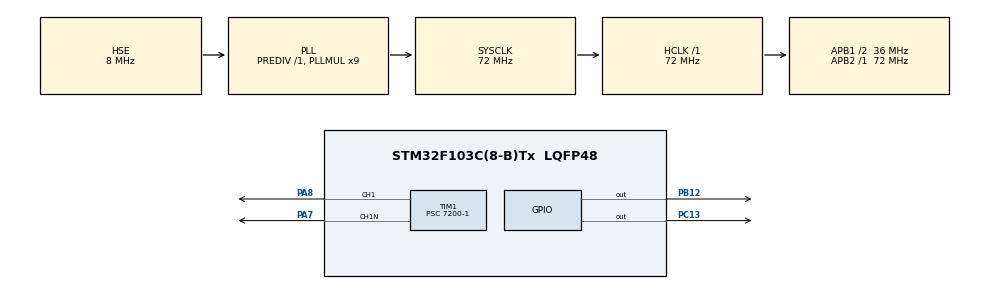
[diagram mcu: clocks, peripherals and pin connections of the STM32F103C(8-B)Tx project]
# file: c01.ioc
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Mcu.Family=STM32F1
Mcu.Name=STM32F103C(8-B)Tx
Mcu.Package=LQFP48
NVIC.PriorityGroup=NVIC_PRIORITYGROUP_4
NVIC.TIM1_BRK_IRQn=true\:0\:0\:false\:false\:true\:true\:true\:true
NVIC.TIM1_TRG_COM_IRQn=true\:0\:0\:false\:false\:true\:true\:true\:true
NVIC.TIM1_UP_IRQn=true\:0\:0\:false\:false\:true\:true\:true\:true
PA13.Mode=Serial_Wire
PA13.Signal=SYS_JTMS-SWDIO
PA14.Mode=Serial_Wire
PA14.Signal=SYS_JTCK-SWCLK
PA7.Mode=PWM Generation1 CH1 CH1N
PA7.Signal=TIM1_CH1N
PA8.Signal=S_TIM1_CH1
PB12.PinState=GPIO_PIN_SET
PB12.Signal=GPIO_Output
PC13-TAMPER-RTC.PinState=GPIO_PIN_SET
PC13-TAMPER-RTC.Signal=GPIO_Output
PD0-OSC_IN.Mode=HSE-External-Oscillator
PD0-OSC_IN.Signal=RCC_OSC_IN
PD1-OSC_OUT.Mode=HSE-External-Oscillator
PD1-OSC_OUT.Signal=RCC_OSC_OUT
ProjectManager.HeapSize=0x200
ProjectManager.StackSize=0x400
ProjectManager.TargetToolchain=CMake
RCC.AHBFreq_Value=72000000
RCC.APB1CLKDivider=RCC_HCLK_DIV2
RCC.APB1Freq_Value=36000000
RCC.APB1TimFreq_Value=72000000
RCC.APB2Freq_Value=72000000
RCC.APB2TimFreq_Value=72000000
RCC.EnbaleCSS=true
RCC.HCLKFreq_Value=72000000
RCC.PLLMUL=RCC_PLL_MUL9
RCC.PLLSourceVirtual=RCC_PLLSOURCE_HSE
RCC.SYSCLKFreq_VALUE=72000000
RCC.SYSCLKSource=RCC_SYSCLKSOURCE_PLLCLK
RCC.USBFreq_Value=72000000
SH.S_TIM1_CH1.0=TIM1_CH1,PWM Generation1 CH1 CH1N
TIM1.AutoReloadPreload=TIM_AUTORELOAD_PRELOAD_ENABLE
TIM1.Channel-PWM\ Generation1\ CH1\ CH1N=TIM_CHANNEL_1
TIM1.Period=10000-1
TIM1.Prescaler=7200-1
VP_TIM1_VS_ClockSourceINT.Mode=Internal
board=custom

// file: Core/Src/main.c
/* USER CODE BEGIN Header */
/**
  ******************************************************************************
  * @file           : main.c
  * @brief          : Main program body
  ******************************************************************************
  * @attention
  *
  * Copyright (c) 2026 STMicroelectronics.
  * All rights reserved.
  *
  * This software is licensed under terms that can be found in the LICENSE file
  * in the root directory of this software component.
  * If no LICENSE file comes with this software, it is provided AS-IS.
  *
  ******************************************************************************
  */
/* USER CODE END Header */
#include "main.h"

/* USER CODE BEGIN Includes */

#include "stm32f103xb.h"
#include "stm32f1xx_hal.h"
#include "stm32f1xx_hal_gpio.h"
#include "testbmp.h"

// #include "ssd1306_conf.h"
// #include "ssd1306.h"
// #include "ssd1306_tests.h"
// #include "ssd1306_fonts.h"

#include "driver_w25qxx.h"
#include "driver_w25qxx_basic.h"

#include <math.h>
#include <stdint.h>
#include <stdio.h>
#include <stdlib.h>
#include <string.h>

/* USER CODE END Includes */

/* USER CODE BEGIN PD */

#define DEFAULT_LIGHT_FREQ  1000

/* USER CODE END PD */

TIM_HandleTypeDef htim1;

/* USER CODE BEGIN PV */

int light_freq = DEFAULT_LIGHT_FREQ;

uint8_t uart1_data[10] = {0};

/* USER CODE END PV */

void SystemClock_Config(void);
static void MX_GPIO_Init(void);
static void MX_TIM1_Init(void);
/* USER CODE BEGIN PFP */

void My_FLASH_WriteEnable();
void My_SPI_SaveBytes();

/* USER CODE END PFP */

/* USER CODE BEGIN 0 */

 void ShowHex(uint8_t *buf,uint8_t len)
{
    uint8_t i;
    printf("hex = ");
    for( i = 0; i < len; i++){
        printf(" %02X",buf[i]); //使用前导0补齐
        //printf(" %2X",buf[i]);  //使用前导空格补齐
        //printf(" %X",buf[i]);  //输出最短的16进制格式
    }
    printf( "\r\n");
}

/* USER CODE END 0 */

int main(void)
{

  /* MCU Configuration--------------------------------------------------------*/

  /* Reset of all peripherals, Initializes the Flash interface and the Systick. */
  HAL_Init();

  /* Configure the system clock */
  SystemClock_Config();

  /* Initialize all configured peripherals */
  MX_GPIO_Init();
  MX_TIM1_Init();
  /* USER CODE BEGIN 2 */

  HAL_TIM_PWM_Start(&htim1, TIM_CHANNEL_1);
  HAL_TIMEx_PWMN_Start(&htim1, TIM_CHANNEL_1);

  /* USER CODE END 2 */

  /* Infinite loop */
  while (1)
  {

    /* USER CODE BEGIN 3 */

    uint32_t tick = HAL_GetTick();
    float t = tick * 1.0e-3f;
    float frequency = 0.7f;
    float duty = 0.5f * (sin(2.0f * 3.14f * frequency * t) + 1.0f);
    uint16_t ccr = duty * 1000;
    __HAL_TIM_SET_COMPARE(&htim1, TIM_CHANNEL_1, ccr);

  }
  /* USER CODE END 3 */
}

void SystemClock_Config(void)
{
  RCC_OscInitTypeDef RCC_OscInitStruct = {0};
  RCC_ClkInitTypeDef RCC_ClkInitStruct = {0};

  /** Initializes the RCC Oscillators according to the specified parameters
  * in the RCC_OscInitTypeDef structure.
  */
  RCC_OscInitStruct.OscillatorType = RCC_OSCILLATORTYPE_HSE;
  RCC_OscInitStruct.HSEState = RCC_HSE_ON;
  RCC_OscInitStruct.HSEPredivValue = RCC_HSE_PREDIV_DIV1;
  RCC_OscInitStruct.HSIState = RCC_HSI_ON;
  RCC_OscInitStruct.PLL.PLLState = RCC_PLL_ON;
  RCC_OscInitStruct.PLL.PLLSource = RCC_PLLSOURCE_HSE;
  RCC_OscInitStruct.PLL.PLLMUL = RCC_PLL_MUL9;
  if (HAL_RCC_OscConfig(&RCC_OscInitStruct) != HAL_OK)
  {
    Error_Handler();
  }

  /** Initializes the CPU, AHB and APB buses clocks
  */
  RCC_ClkInitStruct.ClockType = RCC_CLOCKTYPE_HCLK|RCC_CLOCKTYPE_SYSCLK
                              |RCC_CLOCKTYPE_PCLK1|RCC_CLOCKTYPE_PCLK2;
  RCC_ClkInitStruct.SYSCLKSource = RCC_SYSCLKSOURCE_PLLCLK;
  RCC_ClkInitStruct.AHBCLKDivider = RCC_SYSCLK_DIV1;
  RCC_ClkInitStruct.APB1CLKDivider = RCC_HCLK_DIV2;
  RCC_ClkInitStruct.APB2CLKDivider = RCC_HCLK_DIV1;

  if (HAL_RCC_ClockConfig(&RCC_ClkInitStruct, FLASH_LATENCY_2) != HAL_OK)
  {
    Error_Handler();
  }

  /** Enables the Clock Security System
  */
  HAL_RCC_EnableCSS();
}

static void MX_TIM1_Init(void)
{

  TIM_ClockConfigTypeDef sClockSourceConfig = {0};
  TIM_MasterConfigTypeDef sMasterConfig = {0};
  TIM_OC_InitTypeDef sConfigOC = {0};
  TIM_BreakDeadTimeConfigTypeDef sBreakDeadTimeConfig = {0};

  htim1.Instance = TIM1;
  htim1.Init.Prescaler = 7200-1;
  htim1.Init.CounterMode = TIM_COUNTERMODE_UP;
  htim1.Init.Period = 10000-1;
  htim1.Init.ClockDivision = TIM_CLOCKDIVISION_DIV1;
  htim1.Init.RepetitionCounter = 0;
  htim1.Init.AutoReloadPreload = TIM_AUTORELOAD_PRELOAD_ENABLE;
  if (HAL_TIM_Base_Init(&htim1) != HAL_OK)
  {
    Error_Handler();
  }
  sClockSourceConfig.ClockSource = TIM_CLOCKSOURCE_INTERNAL;
  if (HAL_TIM_ConfigClockSource(&htim1, &sClockSourceConfig) != HAL_OK)
  {
    Error_Handler();
  }
  if (HAL_TIM_PWM_Init(&htim1) != HAL_OK)
  {
    Error_Handler();
  }
  sMasterConfig.MasterOutputTrigger = TIM_TRGO_RESET;
  sMasterConfig.MasterSlaveMode = TIM_MASTERSLAVEMODE_DISABLE;
  if (HAL_TIMEx_MasterConfigSynchronization(&htim1, &sMasterConfig) != HAL_OK)
  {
    Error_Handler();
  }
  sConfigOC.OCMode = TIM_OCMODE_PWM1;
  sConfigOC.Pulse = 0;
  sConfigOC.OCPolarity = TIM_OCPOLARITY_HIGH;
  sConfigOC.OCNPolarity = TIM_OCNPOLARITY_HIGH;
  sConfigOC.OCFastMode = TIM_OCFAST_DISABLE;
  sConfigOC.OCIdleState = TIM_OCIDLESTATE_RESET;
  sConfigOC.OCNIdleState = TIM_OCNIDLESTATE_RESET;
  if (HAL_TIM_PWM_ConfigChannel(&htim1, &sConfigOC, TIM_CHANNEL_1) != HAL_OK)
  {
    Error_Handler();
  }
  sBreakDeadTimeConfig.OffStateRunMode = TIM_OSSR_DISABLE;
  sBreakDeadTimeConfig.OffStateIDLEMode = TIM_OSSI_DISABLE;
  sBreakDeadTimeConfig.LockLevel = TIM_LOCKLEVEL_OFF;
  sBreakDeadTimeConfig.DeadTime = 0;
  sBreakDeadTimeConfig.BreakState = TIM_BREAK_DISABLE;
  sBreakDeadTimeConfig.BreakPolarity = TIM_BREAKPOLARITY_HIGH;
  sBreakDeadTimeConfig.AutomaticOutput = TIM_AUTOMATICOUTPUT_DISABLE;
  if (HAL_TIMEx_ConfigBreakDeadTime(&htim1, &sBreakDeadTimeConfig) != HAL_OK)
  {
    Error_Handler();
  }
  HAL_TIM_MspPostInit(&htim1);

}

static void MX_GPIO_Init(void)
{
  GPIO_InitTypeDef GPIO_InitStruct = {0};

  /* GPIO Ports Clock Enable */
  __HAL_RCC_GPIOC_CLK_ENABLE();
  __HAL_RCC_GPIOD_CLK_ENABLE();
  __HAL_RCC_GPIOA_CLK_ENABLE();
  __HAL_RCC_GPIOB_CLK_ENABLE();

  /*Configure GPIO pin Output Level */
  HAL_GPIO_WritePin(GPIOC, GPIO_PIN_13, GPIO_PIN_SET);

  /*Configure GPIO pin Output Level */
  HAL_GPIO_WritePin(GPIOB, GPIO_PIN_12, GPIO_PIN_SET);

  /*Configure GPIO pin : PC13 */
  GPIO_InitStruct.Pin = GPIO_PIN_13;
  GPIO_InitStruct.Mode = GPIO_MODE_OUTPUT_PP;
  GPIO_InitStruct.Pull = GPIO_NOPULL;
  GPIO_InitStruct.Speed = GPIO_SPEED_FREQ_LOW;
  HAL_GPIO_Init(GPIOC, &GPIO_InitStruct);

  /*Configure GPIO pin : PB12 */
  GPIO_InitStruct.Pin = GPIO_PIN_12;
  GPIO_InitStruct.Mode = GPIO_MODE_OUTPUT_PP;
  GPIO_InitStruct.Pull = GPIO_NOPULL;
  GPIO_InitStruct.Speed = GPIO_SPEED_FREQ_LOW;
  HAL_GPIO_Init(GPIOB, &GPIO_InitStruct);

}

/* USER CODE BEGIN 4 */

// int _write(int file, char *ptr, int len) {
//     HAL_UART_Transmit(&huart1, (uint8_t*)ptr, len, 100);
//     return len;
// }

// void HAL_UART_RxCpltCallback(UART_HandleTypeDef *huart) {
//   if (huart != &huart1) {
//     return;
//   }

//   int huart_data = atoi((char*)uart1_data);

//   if (huart_data == 0) goto end0;

//   light_freq = DEFAULT_LIGHT_FREQ / huart_data;

//   memset(uart1_data, 0, 10);

// end0:
//   HAL_UART_Receive_IT(&huart1, uart1_data, 1);
// }

GPIO_PinState light_state = GPIO_PIN_SET;

#define DEBOUNCE_DELAY 20
uint32_t last_press_time = 0;
uint32_t last_release_time = 0;
uint8_t press_confirmed = 0;

void HAL_GPIO_EXTI_Callback(uint16_t GPIO_Pin) {
  if (GPIO_Pin != GPIO_PIN_7) return;

    GPIO_PinState pin_state = HAL_GPIO_ReadPin(GPIOA, GPIO_PIN_7);
    uint32_t now = HAL_GetTick();

    if (pin_state == GPIO_PIN_SET) {
        last_press_time = now;
        press_confirmed = 0;
    } else {
        if (press_confirmed == 0) {
            if ((now - last_press_time) >= DEBOUNCE_DELAY) {
                last_release_time = now;
                press_confirmed = 1;

                light_state = !light_state;
                HAL_GPIO_WritePin(GPIOC, GPIO_PIN_13, light_state);
            }
        }
    }
}

/* USER CODE END 4 */

void Error_Handler(void)
{
  __disable_irq();
  while (1)
  {
  }
}
#ifdef USE_FULL_ASSERT
/**
  * @brief  Reports the name of the source file and the source line number
  *         where the assert_param error has occurred.
  * @param  file: pointer to the source file name
  * @param  line: assert_param error line source number
  * @retval None
  */
void assert_failed(uint8_t *file, uint32_t line)
{
  /* USER CODE BEGIN 6 */
  /* User can add his own implementation to report the file name and line number,
     ex: printf("Wrong parameters value: file %s on line %d\r\n", file, line) */

  printf("Wrong parameters value: file %s on line %d\r\n", file, line);
  /* USER CODE END 6 */
}
#endif /* USE_FULL_ASSERT */
